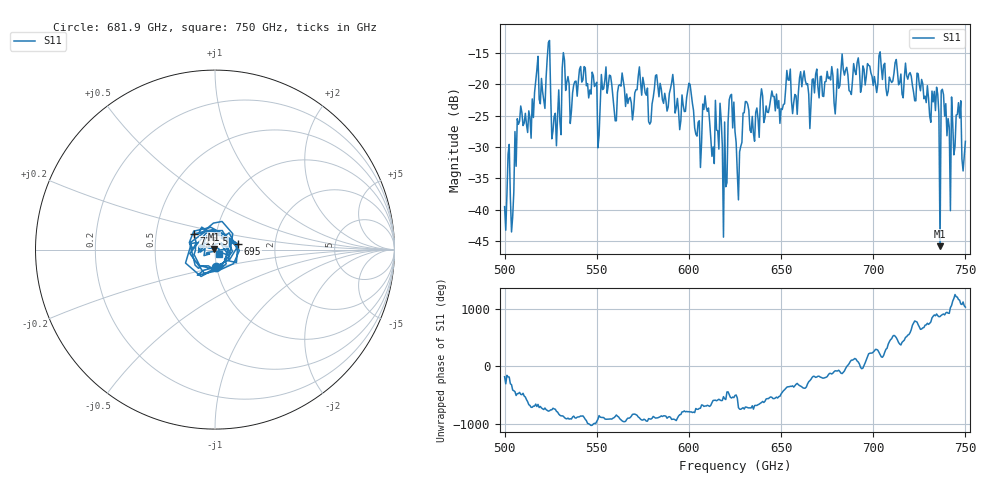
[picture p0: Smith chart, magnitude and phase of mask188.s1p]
!Created with skrf (http://scikit-rf.org).
# GHz S MA R 50.0
!freq magS11 angS11
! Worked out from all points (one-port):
!   401 points, 500 GHz to 750 GHz, reference 50 ohm
!   lowest |S11| = -45.8 dB at 736.2 GHz (marker M1), VSWR 1.01, Z = 49.6 + j0.284 ohm
!   |S11| at or under -10 dB: start of sweep to end of sweep
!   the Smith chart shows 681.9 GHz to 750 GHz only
!   S11 on the Smith chart (normalised r, x): 681.9 GHz: 0.99, -0.19; 695 GHz: 1.29, +0.08; 717.5 GHz: 0.78, +0.14; 750 GHz: 1.04, -0.06
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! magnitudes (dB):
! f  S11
! 500 GHz  -39.5
! 505 GHz  -37.2
! 508.1 GHz  -25.9
! 517.5 GHz  -17.7
! 523.8 GHz  -13.4
! 526.9 GHz  -25.1
! 531.2 GHz  -17.5
! 562.5 GHz  -20.1
! 593.8 GHz  -22.3
! 600.6 GHz  -20.0
! 605.6 GHz  -25.8
! 609.4 GHz  -23.6
! 619.4 GHz  -26.0
! 622.5 GHz  -21.8
! 625 GHz  -27.5
! 627.5 GHz  -30.8
! 630.6 GHz  -22.8
! 656.2 GHz  -24.7
! 681.9 GHz  -20.3
! 687.5 GHz  -21.2
! 695 GHz  -17.6
! 717.5 GHz  -16.7
! 718.8 GHz  -19.2
! 736.2 GHz  -45.8
! 738.1 GHz  -21.7
! 743.1 GHz  -26.3
! 746.2 GHz  -23.0
! 750 GHz  -29.1
